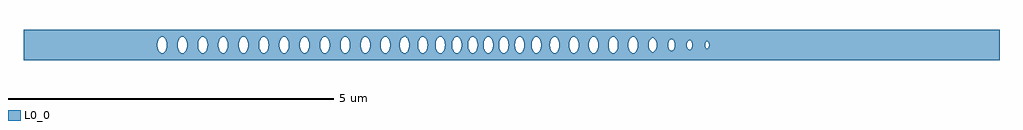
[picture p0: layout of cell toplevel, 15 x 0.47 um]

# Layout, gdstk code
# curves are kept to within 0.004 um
import gdstk
lib = gdstk.Library(unit=1e-6, precision=1e-09)
def P(c, l, *ps):  # polygons
    for p in ps: c.add(gdstk.Polygon(p, *l))
L0_0 = (0, 0)

toplevel = lib.new_cell('toplevel')
P(toplevel, L0_0, [(-4.758,-0.234),(-4.758,-0.125),(-4.78,-0.112),(-4.798,-0.087),(-4.817,-0.016),(-4.814,0.039),(-4.801,0.081),(-4.784,0.108),(-4.758,0.125),(-4.758,0.234),(-7.5,0.234),(-7.5,0),(-5.443,0),(-5.438,0.047),(-5.42,0.093),(-5.397,0.119),(-5.37,0.128),(-5.344,0.119),(-5.317,0.087),(-5.301,0.039),(-5.298,-0.008),(-5.13,-0.008),(-5.125,0.047),(-5.107,0.093),(-5.084,0.119),(-5.057,0.128),(-5.031,0.119),(-5.011,0.098),(-4.996,0.068),(-4.985,0.008),(-4.99,-0.047),(-5.008,-0.093),(-5.031,-0.119),(-5.057,-0.128),(-5.084,-0.119),(-5.104,-0.098),(-5.119,-0.068),(-5.13,-0.008),(-5.298,-0.008),(-5.301,-0.039),(-5.317,-0.087),(-5.344,-0.119),(-5.37,-0.128),(-5.397,-0.119),(-5.42,-0.093),(-5.438,-0.047),(-5.443,0),(-7.5,0),(-7.5,-0.234)],
  [(-4.189,0.032),(-4.178,0.075),(-4.162,0.103),(-4.146,0.119),(-4.119,0.128),(-4.08,0.108),(-4.063,0.081),(-4.049,0.032),(-4.049,0.234),(-4.758,0.234),(-4.758,0.125),(-4.745,0.128),(-4.718,0.119),(-4.695,0.093),(-4.677,0.047),(-4.673,-0.016),(-4.504,-0.016),(-4.502,0.032),(-4.491,0.075),(-4.467,0.112),(-4.432,0.128),(-4.405,0.119),(-4.382,0.093),(-4.36,0.016),(-4.362,-0.032),(-4.373,-0.075),(-4.397,-0.112),(-4.432,-0.128),(-4.459,-0.119),(-4.482,-0.093),(-4.498,-0.054),(-4.504,-0.016),(-4.673,-0.016),(-4.681,-0.061),(-4.702,-0.103),(-4.731,-0.125),(-4.758,-0.125),(-4.758,-0.234),(-4.049,-0.234),(-4.049,-0.034),(-4.063,-0.081),(-4.084,-0.112),(-4.119,-0.128),(-4.142,-0.121),(-4.169,-0.093),(-4.183,-0.061),(-4.192,-0.008)],
  [(-3.208,0.234),(-3.208,0.119),(-3.181,0.128),(-3.154,0.119),(-3.142,0.108),(-3.125,0.081),(-3.114,0.047),(-3.109,-0.008),(-2.941,-0.008),(-2.936,0.047),(-2.918,0.093),(-2.895,0.119),(-2.868,0.128),(-2.842,0.119),(-2.822,0.098),(-2.807,0.068),(-2.796,0.008),(-2.801,-0.047),(-2.819,-0.093),(-2.842,-0.119),(-2.868,-0.128),(-2.895,-0.119),(-2.915,-0.098),(-2.932,-0.061),(-2.941,-0.008),(-3.109,-0.008),(-3.12,-0.068),(-3.142,-0.108),(-3.154,-0.119),(-3.181,-0.128),(-3.208,-0.119),(-3.208,-0.234),(-2.492,-0.234),(-2.492,-0.062),(-2.509,-0.098),(-2.529,-0.119),(-2.556,-0.128),(-2.569,-0.125),(-2.591,-0.112),(-2.605,-0.093),(-2.623,-0.047),(-2.628,-0.008),(-2.617,0.068),(-2.602,0.098),(-2.582,0.119),(-2.556,0.128),(-2.529,0.119),(-2.509,0.098),(-2.492,0.061),(-2.492,0.234)],
  [(-1.64,0.127),(-1.618,0.119),(-1.595,0.093),(-1.577,0.047),(-1.572,-0.008),(-1.435,-0.008),(-1.43,0.047),(-1.412,0.093),(-1.389,0.119),(-1.363,0.128),(-1.336,0.119),(-1.313,0.093),(-1.295,0.047),(-1.29,-0.008),(-1.167,-0.008),(-1.162,0.047),(-1.144,0.093),(-1.121,0.119),(-1.094,0.128),(-1.068,0.119),(-1.045,0.093),(-1.027,0.047),(-1.022,-0.008),(-1.027,-0.047),(-1.045,-0.093),(-1.068,-0.119),(-1.094,-0.128),(-1.121,-0.119),(-1.141,-0.098),(-1.156,-0.068),(-1.167,-0.008),(-1.29,-0.008),(-1.301,-0.068),(-1.316,-0.098),(-1.336,-0.119),(-1.363,-0.128),(-1.389,-0.119),(-1.409,-0.098),(-1.424,-0.068),(-1.435,-0.008),(-1.572,-0.008),(-1.583,-0.068),(-1.598,-0.098),(-1.618,-0.119),(-1.654,-0.126),(-1.654,-0.234),(-0.912,-0.234),(-0.912,0.234),(-1.654,0.234),(-1.654,0.126)],
  [(0.194,-0.032),(0.182,-0.075),(0.159,-0.112),(0.137,-0.125),(0.11,-0.125),(0.085,-0.108),(0.065,-0.075),(0.056,-0.047),(0.051,0.008),(0.056,0.047),(0.074,0.093),(0.097,0.119),(0.124,0.128),(0.15,0.119),(0.17,0.098),(0.185,0.068),(0.196,0.008),(0.196,0.234),(-0.342,0.234),(-0.342,0.125),(-0.317,0.108),(-0.297,0.075),(-0.287,0.039),(-0.284,-0.008),(-0.191,-0.008),(-0.186,0.047),(-0.168,0.093),(-0.145,0.119),(-0.119,0.128),(-0.092,0.119),(-0.072,0.098),(-0.057,0.068),(-0.046,0.008),(-0.051,-0.047),(-0.069,-0.093),(-0.092,-0.119),(-0.119,-0.128),(-0.145,-0.119),(-0.165,-0.098),(-0.18,-0.068),(-0.191,-0.008),(-0.284,-0.008),(-0.297,-0.075),(-0.317,-0.108),(-0.342,-0.125),(-0.342,-0.234),(0.196,-0.234)],
  [(1.796,-0.016),(1.798,0.234),(0.982,0.234),(0.982,0.121),(1.006,0.098),(1.021,0.068),(1.031,0.024),(1.031,-0.016),(1.189,-0.016),(1.192,0.039),(1.205,0.081),(1.226,0.112),(1.261,0.128),(1.288,0.119),(1.311,0.093),(1.327,0.054),(1.333,-0.016),(1.491,-0.016),(1.493,0.032),(1.504,0.075),(1.528,0.112),(1.563,0.128),(1.59,0.119),(1.613,0.093),(1.635,0.016),(1.633,-0.032),(1.622,-0.075),(1.598,-0.112),(1.563,-0.128),(1.536,-0.119),(1.513,-0.093),(1.497,-0.054),(1.491,-0.016),(1.333,-0.016),(1.327,-0.054),(1.311,-0.093),(1.288,-0.119),(1.261,-0.128),(1.235,-0.119),(1.215,-0.098),(1.2,-0.068),(1.189,-0.016),(1.031,-0.016),(1.018,-0.075),(1.006,-0.098),(0.982,-0.121),(0.982,-0.234),(1.798,-0.234)],
  [(2.444,0.087),(2.473,0.089),(2.493,0.071),(2.507,0.039),(2.511,-0.014),(2.695,-0.014),(2.695,0.014),(2.704,0.047),(2.716,0.065),(2.734,0.074),(2.757,0.065),(2.769,0.047),(2.778,-0.01),(2.974,-0.01),(2.981,0.036),(3.003,0.056),(3.017,0.052),(3.03,0.036),(3.037,-0.01),(3.026,-0.043),(3.007,-0.056),(2.985,-0.043),(2.974,-0.01),(2.778,-0.01),(2.765,-0.054),(2.739,-0.074),(2.712,-0.06),(2.695,-0.014),(2.511,-0.014),(2.502,-0.054),(2.482,-0.083),(2.46,-0.092),(2.437,-0.083),(2.437,-0.234),(7.5,-0.234),(7.5,0.234),(2.437,0.234),(2.437,0.083)],
  [(-4.049,-0.032),(-4.049,-0.234),(-3.543,-0.234),(-3.543,-0.093),(-3.555,-0.068),(-3.566,-0.016),(-3.563,0.039),(-3.543,0.093),(-3.543,0.234),(-4.049,0.234),(-4.047,-0.008),(-3.879,-0.008),(-3.874,0.047),(-3.856,0.093),(-3.833,0.119),(-3.807,0.128),(-3.78,0.119),(-3.76,0.098),(-3.745,0.068),(-3.734,0.008),(-3.739,-0.047),(-3.757,-0.093),(-3.78,-0.119),(-3.807,-0.128),(-3.833,-0.119),(-3.853,-0.098),(-3.868,-0.068),(-3.879,-0.008),(-4.047,-0.008)],
  [(-3.536,0.103),(-3.52,0.119),(-3.494,0.128),(-3.459,0.112),(-3.43,0.061),(-3.421,0),(-3.435,-0.075),(-3.467,-0.119),(-3.494,-0.128),(-3.507,-0.125),(-3.529,-0.112),(-3.543,-0.093),(-3.543,-0.234),(-3.208,-0.234),(-3.208,-0.119),(-3.24,-0.075),(-3.253,-0.016),(-3.245,0.061),(-3.231,0.093),(-3.208,0.119),(-3.208,0.234),(-3.543,0.234),(-3.543,0.093)],
  [(-2.009,0.032),(-2,0.068),(-2,0.234),(-2.492,0.234),(-2.492,0.06),(-2.483,-0.008),(-2.317,-0.008),(-2.312,0.047),(-2.294,0.093),(-2.271,0.119),(-2.245,0.128),(-2.218,0.119),(-2.198,0.098),(-2.183,0.068),(-2.172,0.008),(-2.177,-0.047),(-2.195,-0.093),(-2.218,-0.119),(-2.245,-0.128),(-2.271,-0.119),(-2.291,-0.098),(-2.306,-0.068),(-2.317,-0.008),(-2.483,-0.008),(-2.492,-0.061),(-2.492,-0.234),(-2,-0.234),(-2,-0.068),(-2.012,-0.008)],
  [(-1.989,0.093),(-1.974,0.112),(-1.953,0.125),(-1.926,0.125),(-1.904,0.112),(-1.878,0.068),(-1.869,0.032),(-1.867,-0.016),(-1.878,-0.068),(-1.89,-0.093),(-1.904,-0.112),(-1.926,-0.125),(-1.939,-0.128),(-1.966,-0.119),(-1.989,-0.093),(-2,-0.068),(-2,-0.234),(-1.654,-0.234),(-1.654,-0.126),(-1.671,-0.119),(-1.694,-0.093),(-1.712,-0.047),(-1.717,-0.008),(-1.715,0.032),(-1.703,0.075),(-1.683,0.108),(-1.654,0.126),(-1.654,0.234),(-2,0.234),(-2,0.068)],
  [(-0.769,-0.032),(-0.793,-0.098),(-0.813,-0.119),(-0.839,-0.128),(-0.866,-0.119),(-0.886,-0.098),(-0.901,-0.068),(-0.912,-0.008),(-0.912,-0.234),(-0.625,-0.234),(-0.625,-0.115),(-0.656,-0.068),(-0.667,-0.016),(-0.665,0.032),(-0.656,0.068),(-0.625,0.115),(-0.625,0.234),(-0.912,0.234),(-0.912,0.008),(-0.901,0.068),(-0.886,0.098),(-0.862,0.121),(-0.839,0.128),(-0.826,0.125),(-0.801,0.108),(-0.778,0.068),(-0.768,0.024)],
  [(-0.613,0.123),(-0.581,0.125),(-0.56,0.112),(-0.545,0.093),(-0.527,0.047),(-0.522,-0.008),(-0.531,-0.061),(-0.556,-0.108),(-0.568,-0.119),(-0.595,-0.128),(-0.625,-0.115),(-0.625,-0.234),(-0.342,-0.234),(-0.342,-0.125),(-0.369,-0.125),(-0.395,-0.108),(-0.417,-0.068),(-0.428,-0.016),(-0.425,0.039),(-0.409,0.087),(-0.382,0.119),(-0.356,0.128),(-0.342,0.125),(-0.342,0.234),(-0.625,0.234),(-0.625,0.115)],
  [(0.593,0.032),(0.604,0.075),(0.632,0.115),(0.632,0.234),(0.196,0.234),(0.196,-0.016),(0.31,-0.016),(0.312,0.032),(0.323,0.075),(0.347,0.112),(0.382,0.128),(0.409,0.119),(0.432,0.093),(0.446,0.061),(0.454,0.016),(0.452,-0.032),(0.441,-0.075),(0.417,-0.112),(0.382,-0.128),(0.355,-0.119),(0.332,-0.093),(0.31,-0.016),(0.196,-0.016),(0.196,-0.234),(0.632,-0.234),(0.632,-0.115),(0.613,-0.093),(0.595,-0.047),(0.59,-0.008)],
  [(0.64,0.121),(0.663,0.128),(0.676,0.125),(0.709,0.098),(0.732,0.039),(0.735,-0.008),(0.724,-0.068),(0.698,-0.112),(0.663,-0.128),(0.632,-0.115),(0.632,-0.234),(0.982,-0.234),(0.982,-0.121),(0.959,-0.128),(0.933,-0.119),(0.921,-0.108),(0.898,-0.068),(0.887,-0.008),(0.892,0.047),(0.913,0.098),(0.946,0.125),(0.959,0.128),(0.982,0.121),(0.982,0.234),(0.632,0.234),(0.632,0.115)],
  [(1.938,-0.032),(1.924,-0.081),(1.907,-0.108),(1.868,-0.128),(1.841,-0.119),(1.825,-0.103),(1.809,-0.075),(1.798,-0.034),(1.798,-0.234),(2.122,-0.234),(2.122,-0.07),(2.108,-0.014),(2.111,0.034),(2.122,0.07),(2.122,0.234),(1.798,0.234),(1.798,0.032),(1.809,0.075),(1.829,0.108),(1.854,0.125),(1.886,0.123),(1.907,0.108),(1.929,0.068),(1.94,0.016)],
  [(2.127,0.08),(2.147,0.102),(2.162,0.109),(2.182,0.108),(2.2,0.096),(2.225,0.053),(2.232,-0.014),(2.225,-0.053),(2.213,-0.08),(2.182,-0.108),(2.162,-0.109),(2.147,-0.102),(2.122,-0.07),(2.122,-0.234),(2.437,-0.234),(2.437,-0.083),(2.417,-0.054),(2.408,-0.017),(2.411,0.034),(2.426,0.071),(2.437,0.083),(2.437,0.234),(2.122,0.234),(2.122,0.07)])

lib.write_gds('toplevel.gds')
